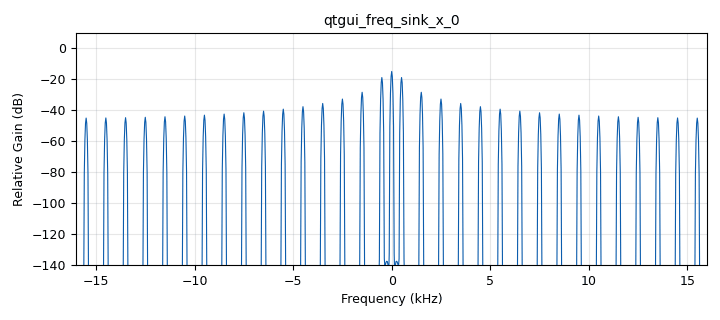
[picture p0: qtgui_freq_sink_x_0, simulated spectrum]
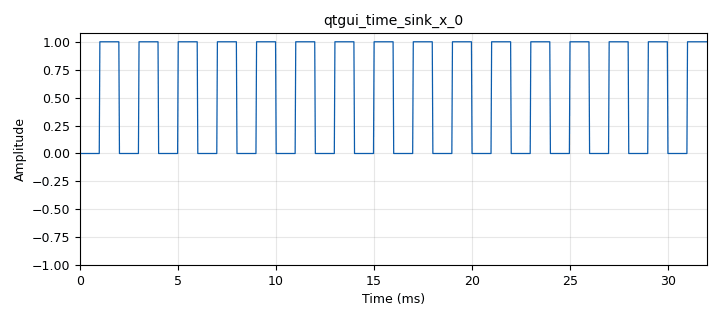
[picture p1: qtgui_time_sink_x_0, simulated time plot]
options:
  parameters:
    author: '2170811'
    generate_options: qt_gui
    id: LAB1_2170811
    output_language: python
    title: PRIMER FLUJOGRAMA
  states: {}

blocks:
- name: amplitude
  id: variable_qtgui_range
  parameters:
    label: amplitude
    start: '0'
    step: '0.1'
    stop: '5'
    value: '1'
  states: {}
- name: frecuency
  id: variable
  parameters:
    value: '5000'
  states: {state: disabled}
- name: frecuency
  id: variable_qtgui_range
  parameters:
    label: frecuency
    start: '500'
    step: '500'
    stop: '5000'
    value: '500'
  states: {}
- name: samp_rate
  id: variable
  parameters:
    value: '32000'
  states: {}
- name: analog_sig_source_x_0
  id: analog_sig_source_x
  parameters:
    amp: amplitude
    freq: frecuency
    offset: '0'
    phase: '0'
    samp_rate: samp_rate
    type: float
    waveform: analog.GR_SQR_WAVE
  states: {}
- name: blocks_throttle_0
  id: blocks_throttle
  parameters:
    samples_per_second: samp_rate
    type: float
  states: {}
- name: qtgui_freq_sink_x_0
  id: qtgui_freq_sink_x
  parameters:
    bw: samp_rate
    fc: '0'
    fftsize: '1024'
    type: float
  states: {}
- name: qtgui_time_sink_x_0
  id: qtgui_time_sink_x
  parameters:
    size: '1024'
    srate: samp_rate
    type: float
  states: {}

connections:
- [analog_sig_source_x_0, '0', blocks_throttle_0, '0']
- [blocks_throttle_0, '0', qtgui_freq_sink_x_0, '0']
- [blocks_throttle_0, '0', qtgui_time_sink_x_0, '0']

metadata:
  file_format: 1
